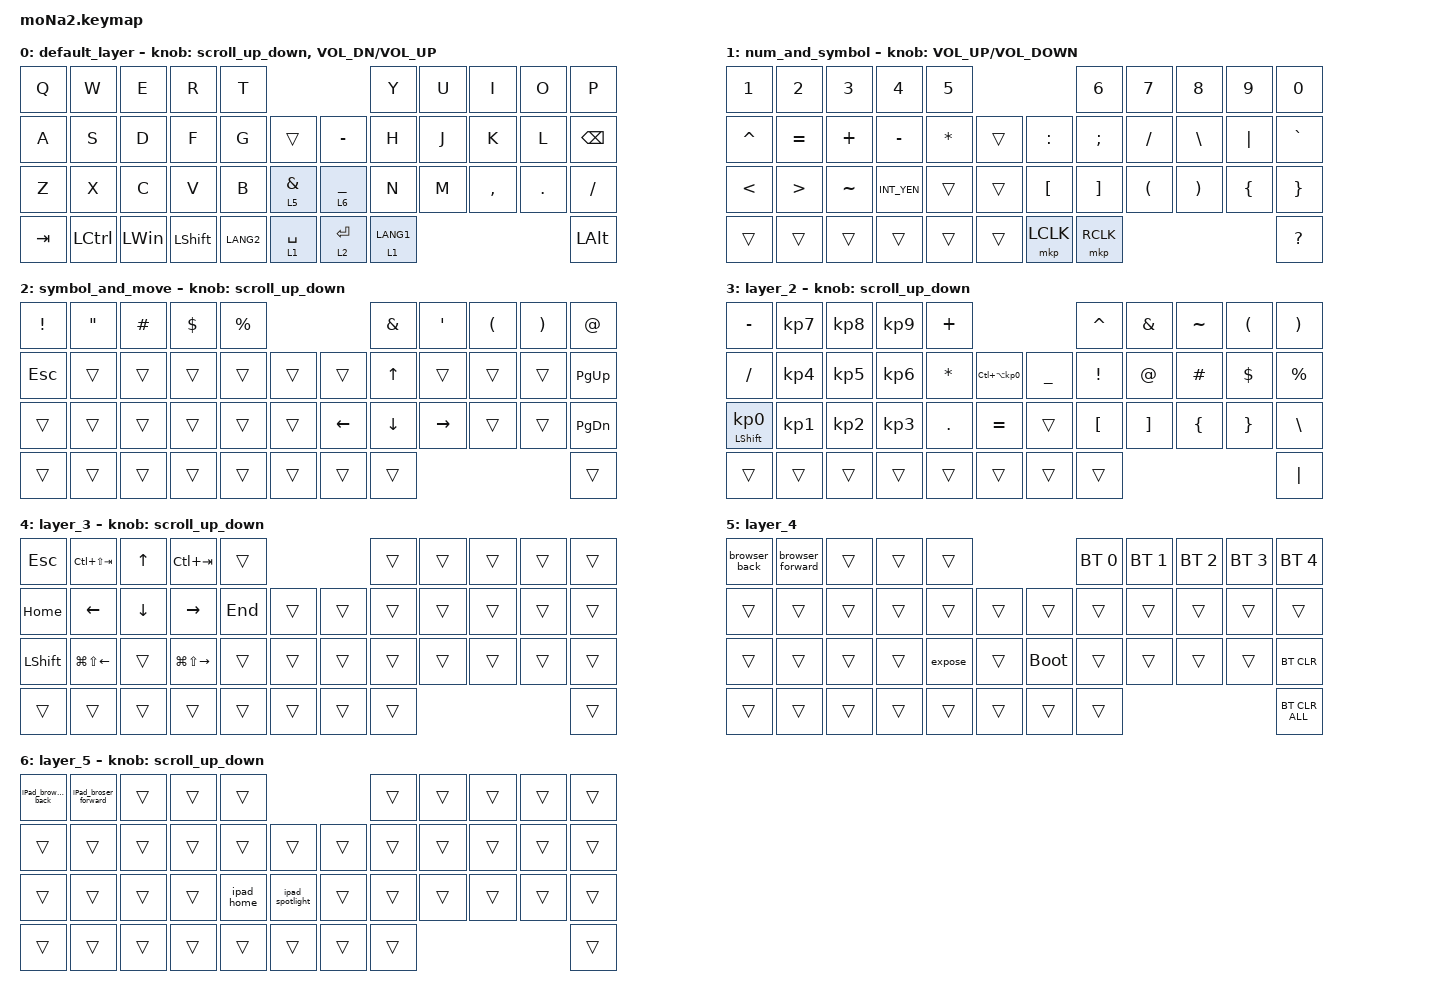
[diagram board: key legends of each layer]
#include <behaviors.dtsi>
#include <dt-bindings/zmk/bt.h>
#include <dt-bindings/zmk/keys.h>
#include <dt-bindings/zmk/pointing.h>

#define ZMK_POINTING_DEFAULT_SCRL_VAL 100
#define MOUSE 6

&mt {
    flavor = "balanced";
    quick-tap-ms = <0>;
};

/ {
    combos { compatible = "zmk,combos"; };

    macros {
        to_layer_0: to_layer_0 {
            compatible = "zmk,behavior-macro-one-param";
            #binding-cells = <1>;
            bindings = <&to 0 &macro_param_1to1 &kp MACRO_PLACEHOLDER>;
            label = "TO_LAYER_0";
        };

        expose: expose {
            compatible = "zmk,behavior-macro";
            #binding-cells = <0>;
            bindings =
                <&macro_press>,
                <&kp LEFT_CONTROL>,
                <&macro_tap>,
                <&kp UP_ARROW>,
                <&macro_release>,
                <&kp LEFT_CONTROL>;

            label = "EXPOSE";
        };

        browser_back: browser_back {
            compatible = "zmk,behavior-macro";
            #binding-cells = <0>;
            bindings =
                <&macro_press>,
                <&kp LEFT_COMMAND>,
                <&macro_tap>,
                <&kp LEFT_ARROW>,
                <&macro_release>,
                <&kp LEFT_COMMAND>;

            label = "BROWSER_BACK";
        };

        browser_forward: browser_forward {
            compatible = "zmk,behavior-macro";
            #binding-cells = <0>;
            bindings =
                <&macro_press>,
                <&kp LEFT_COMMAND>,
                <&macro_tap>,
                <&kp RIGHT_ARROW>,
                <&macro_release>,
                <&kp LEFT_COMMAND>;

            label = "BROWSER_FORWARD";
        };

        iPad_browser_back: iPad_browser_back {
            compatible = "zmk,behavior-macro";
            #binding-cells = <0>;
            bindings =
                <&macro_press>,
                <&kp LEFT_COMMAND>,
                <&macro_tap>,
                <&kp LEFT_BRACKET>,
                <&macro_release>,
                <&kp LEFT_COMMAND>;

            label = "IPAD_BROWSER_BACK";
        };

        iPad_broser_forward: iPad_broser_forward {
            compatible = "zmk,behavior-macro";
            #binding-cells = <0>;
            bindings =
                <&macro_press>,
                <&kp LEFT_COMMAND>,
                <&macro_tap>,
                <&kp RIGHT_BRACKET>,
                <&macro_release>,
                <&kp LEFT_COMMAND>;

            label = "IPAD_BROSER_FORWARD";
        };

        ipad_home: ipad_home {
            compatible = "zmk,behavior-macro";
            #binding-cells = <0>;
            bindings =
                <&macro_press>,
                <&kp LEFT_COMMAND>,
                <&macro_tap>,
                <&kp H>,
                <&macro_release>,
                <&kp LEFT_COMMAND>;

            label = "IPAD_HOME";
        };

        ipad_app_change: ipad_app_change {
            compatible = "zmk,behavior-macro";
            #binding-cells = <0>;
            bindings =
                <&macro_press>,
                <&kp LEFT_COMMAND>,
                <&macro_tap>,
                <&kp TAB>,
                <&macro_release>,
                <&kp LEFT_COMMAND>;

            label = "IPAD_APP_CHANGE";
        };

        ipad_spotlight: ipad_spotlight {
            compatible = "zmk,behavior-macro";
            #binding-cells = <0>;
            bindings =
                <&macro_press>,
                <&kp LEFT_COMMAND>,
                <&macro_tap>,
                <&kp SPACE>,
                <&macro_release>,
                <&kp LEFT_COMMAND>;

            label = "IPAD_SPOTLIGHT";
        };
    };

    behaviors {
        lt_to_layer_0: lt_to_layer_0 {
            compatible = "zmk,behavior-hold-tap";
            label = "LAYER_TAP_TO_0";
            bindings = <&mo>, <&to_layer_0>;

            #binding-cells = <2>;
            tapping-term-ms = <200>;
        };

        scroll_up_down: behavior_sensor_rotate_mouse_wheel_up_down {
            compatible = "zmk,behavior-sensor-rotate";
            #sensor-binding-cells = <0>;
            bindings = <&msc SCRL_UP>, <&msc SCRL_DOWN>;

            tap-ms = <20>;
        };
    };

    keymap {
        compatible = "zmk,keymap";

        default_layer {
            bindings = <
&kp Q    &kp W      &kp E         &kp R           &kp T                                           &kp Y        &kp U  &kp I      &kp O    &kp P
&kp A    &kp S      &kp D         &kp F           &kp G      &trans             &kp MINUS         &kp H        &kp J  &kp K      &kp L    &kp BACKSPACE
&kp Z    &kp X      &kp C         &kp V           &kp B      &lt 5 AMPERSAND    &lt 6 UNDERSCORE  &kp N        &kp M  &kp COMMA  &kp DOT  &kp SLASH
&kp TAB  &kp LCTRL  &kp LEFT_WIN  &kp LEFT_SHIFT  &kp LANG2  &lt 1 SPACE        &lt 2 ENTER       &lt 1 LANG1                             &kp LEFT_ALT
            >;

            sensor-bindings =
                <&scroll_up_down>,
                <&inc_dec_kp C_VOL_DN C_VOL_UP>;
        };

        num_and_symbol {
            bindings = <
&kp NUMBER_1   &kp NUMBER_2      &kp NUMBER_3  &kp NUMBER_4  &kp N5                                    &kp NUMBER_6       &kp N7                &kp N8                 &kp N9          &kp N0
&kp CARET      &kp EQUAL         &kp PLUS      &kp MINUS     &kp ASTERISK  &trans    &kp COLON         &kp SEMICOLON      &kp SLASH             &kp BACKSLASH          &kp PIPE        &kp GRAVE
&kp LESS_THAN  &kp GREATER_THAN  &kp TILDE     &kp INT_YEN   &trans        &trans    &kp LEFT_BRACKET  &kp RIGHT_BRACKET  &kp LEFT_PARENTHESIS  &kp RIGHT_PARENTHESIS  &kp LEFT_BRACE  &kp RIGHT_BRACE
&trans         &trans            &trans        &trans        &trans        &trans    &mkp LCLK         &mkp RCLK                                                                       &kp QUESTION
            >;

            sensor-bindings = <&inc_dec_kp C_VOLUME_UP C_VOLUME_DOWN>;
        };

        symbol_and_move {
            bindings = <
&kp EXCLAMATION  &kp DOUBLE_QUOTES  &kp HASH  &kp DOLLAR  &kp PERCENT                            &kp AMPERSAND   &kp SINGLE_QUOTE  &kp LEFT_PARENTHESIS  &kp RIGHT_PARENTHESIS  &kp AT_SIGN
&kp ESC          &trans             &trans    &trans      &trans       &trans    &trans          &kp UP_ARROW    &trans            &trans                &trans                 &kp PAGE_UP
&trans           &trans             &trans    &trans      &trans       &trans    &kp LEFT_ARROW  &kp DOWN_ARROW  &kp RIGHT_ARROW   &trans                &trans                 &kp PAGE_DOWN
&trans           &trans             &trans    &trans      &trans       &trans    &trans          &trans                                                                         &trans
            >;

            sensor-bindings = <&scroll_up_down>;
        };

        layer_2 {
            bindings = <
&kp MINUS                   &kp KP_NUMBER_7  &kp KP_NUMBER_8  &kp KP_NUMBER_9  &kp PLUS                                                 &kp CARET         &kp AMPERSAND      &kp TILDE       &kp LEFT_PARENTHESIS  &kp RIGHT_PARENTHESIS
&kp SLASH                   &kp KP_NUMBER_4  &kp KP_NUMBER_5  &kp KP_NUMBER_6  &kp ASTERISK  &kp LC(LA(KP_NUMBER_0))    &kp UNDERSCORE  &kp EXCLAMATION   &kp AT_SIGN        &kp HASH        &kp DOLLAR            &kp PERCENT
&mt LEFT_SHIFT KP_NUMBER_0  &kp KP_NUMBER_1  &kp KP_NUMBER_2  &kp KP_NUMBER_3  &kp PERIOD    &kp EQUAL                  &trans          &kp LEFT_BRACKET  &kp RIGHT_BRACKET  &kp LEFT_BRACE  &kp RIGHT_BRACE       &kp BACKSLASH
&trans                      &trans           &trans           &trans           &trans        &trans                     &trans          &trans                                                                     &kp PIPE
            >;

            sensor-bindings = <&scroll_up_down>;
        };

        layer_3 {
            bindings = <
&kp ESCAPE      &kp LC(LS(TAB))         &kp UP_ARROW    &kp LC(TAB)              &trans                     &trans  &trans  &trans  &trans  &trans
&kp HOME        &kp LEFT_ARROW          &kp DOWN_ARROW  &kp RIGHT_ARROW          &kp END  &trans    &trans  &trans  &trans  &trans  &trans  &trans
&kp LEFT_SHIFT  &kp LG(LS(LEFT_ARROW))  &trans          &kp LG(LS(RIGHT_ARROW))  &trans   &trans    &trans  &trans  &trans  &trans  &trans  &trans
&trans          &trans                  &trans          &trans                   &trans   &trans    &trans  &trans                          &trans
            >;

            sensor-bindings = <&scroll_up_down>;
        };

        layer_4 {
            bindings = <
&browser_back  &browser_forward  &trans  &trans  &trans                          &bt BT_SEL 0  &bt BT_SEL 1  &bt BT_SEL 2  &bt BT_SEL 3  &bt BT_SEL 4
&trans         &trans            &trans  &trans  &trans   &trans    &trans       &trans        &trans        &trans        &trans        &trans
&trans         &trans            &trans  &trans  &expose  &trans    &bootloader  &trans        &trans        &trans        &trans        &bt BT_CLR
&trans         &trans            &trans  &trans  &trans   &trans    &trans       &trans                                                  &bt BT_CLR_ALL
            >;
        };

        layer_5 {
            bindings = <
&iPad_browser_back  &iPad_broser_forward  &trans  &trans  &trans                                 &trans  &trans  &trans  &trans  &trans
&trans              &trans                &trans  &trans  &trans      &trans             &trans  &trans  &trans  &trans  &trans  &trans
&trans              &trans                &trans  &trans  &ipad_home  &ipad_spotlight    &trans  &trans  &trans  &trans  &trans  &trans
&trans              &trans                &trans  &trans  &trans      &trans             &trans  &trans                          &trans
            >;

            sensor-bindings = <&scroll_up_down>;
        };
    };
};
